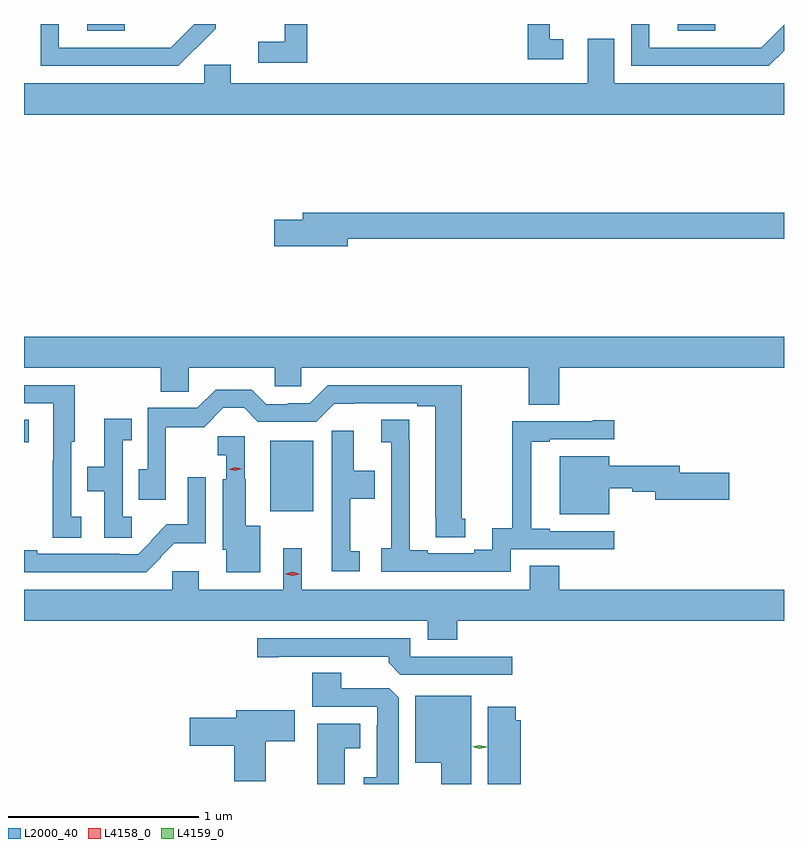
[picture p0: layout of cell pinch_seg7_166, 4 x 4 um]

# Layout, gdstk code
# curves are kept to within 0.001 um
import gdstk
lib = gdstk.Library(unit=1e-6, precision=1e-09)
def R(c, l, rs):  # rectangles x0, y0, x1, y1
    for r in rs: c.add(gdstk.rectangle(r[:2], r[2:], *l))
def P(c, l, *ps):  # polygons
    for p in ps: c.add(gdstk.Polygon(p, *l))
L2000_40 = (2000, 40)
L4158_0 = (4158, 0)
L4159_0 = (4159, 0)

pinch_seg7_166 = lib.new_cell('pinch_seg7_166')
R(pinch_seg7_166, L2000_40, [(1083.062,1033.16,1083.289,1033.531), (1081.767,1033.525,1081.792,1033.643), (1082.1,1035.69,1082.298,1035.725), (1085.208,1035.69,1085.406,1035.725)])
P(pinch_seg7_166, L2000_40, [(1082.669,1035.595),(1082.67,1035.594),(1082.775,1035.699),(1082.775,1035.725),(1082.663,1035.725),(1082.539,1035.601),(1082.435,1035.6),(1081.951,1035.6),(1081.951,1035.725),(1081.854,1035.725),(1081.854,1035.504),(1082.578,1035.504)],
  [(1083.257,1035.725),(1083.14,1035.725),(1083.14,1035.631),(1083,1035.631),(1083,1035.522),(1083.257,1035.522)],
  [(1085.767,1035.585),(1085.767,1035.721),(1085.647,1035.601),(1085.543,1035.601),(1085.543,1035.6),(1085.059,1035.6),(1085.059,1035.725),(1084.962,1035.725),(1084.962,1035.504),(1085.686,1035.504)],
  [(1084.606,1035.645),(1084.533,1035.645),(1084.533,1035.725),(1084.417,1035.725),(1084.417,1035.54),(1084.606,1035.54)],
  [(1085.767,1035.412),(1084.873,1035.412),(1084.873,1035.648),(1084.733,1035.648),(1084.733,1035.412),(1082.854,1035.412),(1082.854,1035.51),(1082.715,1035.51),(1082.715,1035.412),(1081.767,1035.412),(1081.767,1035.248),(1085.767,1035.248)],
  [(1083.472,1034.596),(1085.767,1034.596),(1085.767,1034.732),(1083.233,1034.732),(1083.233,1034.696),(1083.084,1034.696),(1083.084,1034.554),(1083.472,1034.554)],
  [(1084.583,1033.916),(1085.767,1033.916),(1085.767,1034.08),(1081.767,1034.08),(1081.767,1033.916),(1082.488,1033.916),(1082.488,1033.789),(1082.634,1033.789),(1082.634,1033.916),(1083.087,1033.916),(1083.087,1033.818),(1083.225,1033.818),(1083.225,1033.916),(1084.423,1033.916),(1084.423,1033.72),(1084.583,1033.72)],
  [(1082.068,1033.132),(1082.016,1033.132),(1082.016,1033.527),(1082.035,1033.527),(1082.035,1033.824),(1081.767,1033.824),(1081.767,1033.728),(1081.92,1033.728),(1081.92,1033.427),(1081.919,1033.427),(1081.919,1033.021),(1082.068,1033.021)],
  [(1084.09,1033.122),(1084.072,1033.122),(1084.072,1033.824),(1083.366,1033.824),(1083.27,1033.728),(1083.155,1033.728),(1083.155,1033.725),(1083.042,1033.725),(1082.966,1033.801),(1082.776,1033.801),(1082.679,1033.704),(1082.418,1033.704),(1082.418,1033.382),(1082.371,1033.382),(1082.371,1033.221),(1082.514,1033.221),(1082.514,1033.603),(1082.716,1033.603),(1082.816,1033.704),(1082.926,1033.704),(1082.997,1033.632),(1083.306,1033.632),(1083.401,1033.727),(1083.836,1033.728),(1083.836,1033.713),(1083.932,1033.713),(1083.933,1033.024),(1084.09,1033.024)],
  [(1082.335,1033.132),(1082.286,1033.132),(1082.286,1033.535),(1082.333,1033.535),(1082.333,1033.648),(1082.189,1033.648),(1082.189,1033.394),(1082.101,1033.394),(1082.101,1033.266),(1082.19,1033.266),(1082.19,1033.021),(1082.335,1033.021)],
  [(1084.329,1032.96),(1084.873,1032.96),(1084.873,1033.056),(1084.534,1033.056),(1084.534,1033.069),(1084.438,1033.069),(1084.438,1033.527),(1084.534,1033.527),(1084.534,1033.539),(1084.873,1033.539),(1084.873,1033.64),(1084.76,1033.64),(1084.76,1033.635),(1084.336,1033.635),(1084.336,1033.072),(1084.232,1033.072),(1084.232,1032.958),(1084.136,1032.958),(1084.136,1032.939),(1083.892,1032.939),(1083.892,1032.954),(1083.796,1032.954),(1083.796,1033.535),(1083.795,1033.535),(1083.795,1033.643),(1083.648,1033.643),(1083.648,1033.525),(1083.699,1033.525),(1083.699,1032.967),(1083.648,1032.967),(1083.648,1032.843),(1084.329,1032.843)],
  [(1083.535,1032.951),(1083.485,1032.951),(1083.485,1033.226),(1083.614,1033.226),(1083.614,1033.374),(1083.502,1033.374),(1083.502,1033.585),(1083.386,1033.585),(1083.386,1032.846),(1083.535,1032.846)],
  [(1083.01,1033.084),(1082.935,1033.084),(1082.935,1033.329),(1082.929,1033.329),(1082.929,1033.554),(1082.787,1033.554),(1082.787,1033.455),(1082.832,1033.455),(1082.832,1033.329),(1082.813,1033.329),(1082.813,1032.957),(1082.831,1032.957),(1082.831,1032.839),(1083.01,1032.839)],
  [(1084.846,1033.282),(1084.968,1033.282),(1084.968,1033.264),(1085.09,1033.264),(1085.09,1033.222),(1085.479,1033.222),(1085.479,1033.364),(1085.218,1033.364),(1085.218,1033.4),(1084.846,1033.4),(1084.846,1033.45),(1084.586,1033.45),(1084.586,1033.145),(1084.846,1033.145)],
  [(1082.488,1032.917),(1082.486,1032.92),(1082.559,1032.993),(1082.724,1032.993),(1082.724,1033.339),(1082.628,1033.339),(1082.628,1033.091),(1082.519,1033.091),(1082.436,1033.008),(1082.439,1033.005),(1082.367,1032.933),(1082.267,1032.933),(1082.267,1032.936),(1081.837,1032.936),(1081.837,1032.956),(1081.767,1032.956),(1081.767,1032.84),(1082.41,1032.84)],
  [(1084.046,1032.584),(1085.767,1032.584),(1085.767,1032.748),(1084.583,1032.748),(1084.583,1032.875),(1084.43,1032.875),(1084.43,1032.748),(1083.229,1032.748),(1083.229,1032.967),(1083.132,1032.967),(1083.132,1032.748),(1082.686,1032.748),(1082.686,1032.844),(1082.547,1032.844),(1082.547,1032.748),(1081.767,1032.748),(1081.767,1032.584),(1083.893,1032.584),(1083.893,1032.485),(1084.046,1032.485)],
  [(1084.336,1032.396),(1083.801,1032.396),(1083.801,1032.492),(1082.994,1032.492),(1082.994,1032.391),(1083.106,1032.391),(1083.106,1032.396),(1083.686,1032.396),(1083.686,1032.362),(1083.747,1032.3),(1084.336,1032.3)],
  [(1083.739,1032.179),(1083.69,1032.228),(1083.436,1032.228),(1083.436,1032.311),(1083.284,1032.311),(1083.284,1032.132),(1083.627,1032.132),(1083.627,1032.035),(1083.623,1032.035),(1083.623,1031.761),(1083.554,1031.761),(1083.554,1031.725),(1083.739,1031.725)],
  [(1084.12,1032.19),(1083.827,1032.19),(1083.827,1031.837),(1083.962,1031.837),(1083.962,1031.725),(1084.12,1031.725)],
  [(1084.381,1032.061),(1084.355,1032.061),(1084.355,1032.132),(1084.208,1032.132),(1084.208,1031.725),(1084.381,1031.725)],
  [(1083.04,1031.95),(1083.193,1031.95),(1083.193,1032.112),(1082.885,1032.112),(1082.885,1032.074),(1082.64,1032.074),(1082.64,1031.927),(1082.873,1031.927),(1082.873,1031.739),(1083.04,1031.739)],
  [(1083.454,1031.912),(1083.538,1031.912),(1083.538,1032.043),(1083.311,1032.043),(1083.311,1031.725),(1083.454,1031.725)])
P(pinch_seg7_166, L4158_0, [(1083.18,1032.821),(1083.145,1032.83),(1083.145,1032.831),(1083.145,1032.831),(1083.18,1032.841),(1083.215,1032.831),(1083.215,1032.831),(1083.215,1032.83)],
  [(1082.88,1033.373),(1082.845,1033.381),(1082.844,1033.381),(1082.845,1033.382),(1082.879,1033.393),(1082.914,1033.385),(1082.914,1033.384),(1082.914,1033.384)])
P(pinch_seg7_166, L4159_0, [(1084.164,1031.91),(1084.127,1031.921),(1084.126,1031.921),(1084.127,1031.921),(1084.164,1031.93),(1084.202,1031.92),(1084.202,1031.919),(1084.202,1031.919)])

lib.write_gds('pinch_seg7_166.gds')
